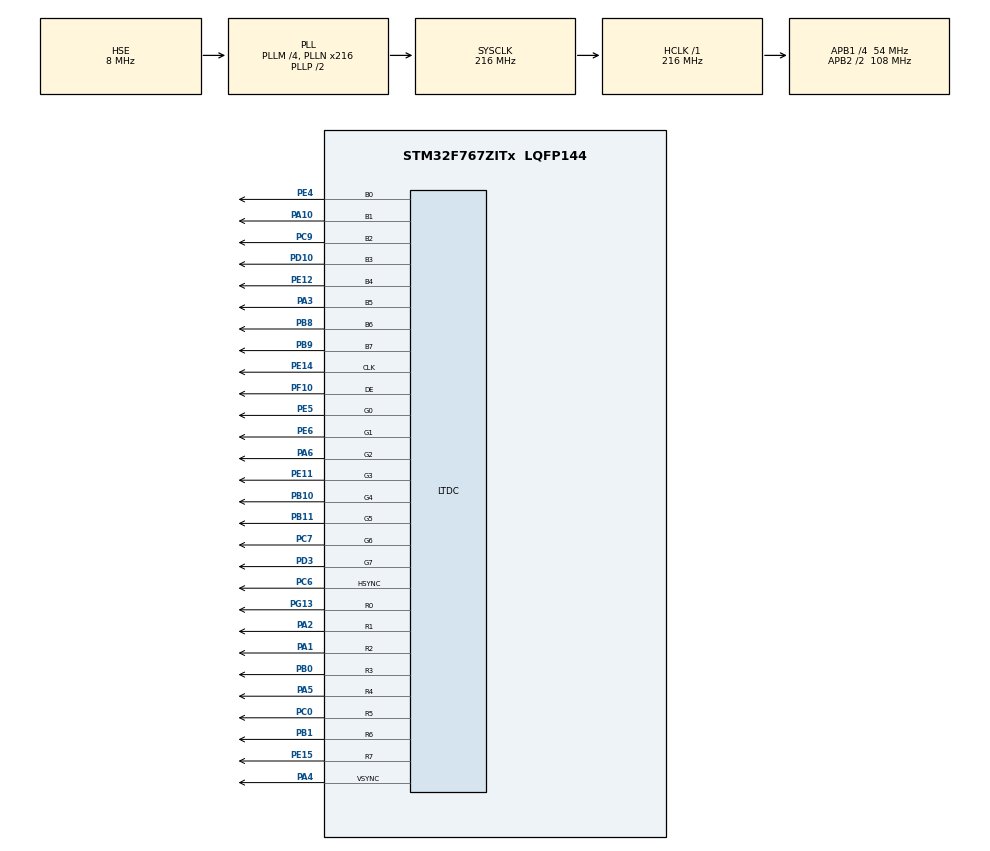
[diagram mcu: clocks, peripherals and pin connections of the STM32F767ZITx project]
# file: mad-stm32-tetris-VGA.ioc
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CORTEX_M7.default_mode_Activation=1
LTDC.HBP=48
LTDC.HFP=16
LTDC.HSync=96
LTDC.VBP=33
LTDC.VFP=10
LTDC.VSync=2
Mcu.Family=STM32F7
Mcu.Name=STM32F767ZITx
Mcu.Package=LQFP144
NVIC.PriorityGroup=NVIC_PRIORITYGROUP_4
PA1.Mode=RGB888
PA1.Signal=LTDC_R2
PA10.Mode=RGB888
PA10.Signal=LTDC_B1
PA2.Mode=RGB888
PA2.Signal=LTDC_R1
PA3.Mode=RGB888
PA3.Signal=LTDC_B5
PA4.Mode=RGB888
PA4.Signal=LTDC_VSYNC
PA5.Mode=RGB888
PA5.Signal=LTDC_R4
PA6.Mode=RGB888
PA6.Signal=LTDC_G2
PB0.Mode=RGB888
PB0.Signal=LTDC_R3
PB1.Mode=RGB888
PB1.Signal=LTDC_R6
PB10.Mode=RGB888
PB10.Signal=LTDC_G4
PB11.Mode=RGB888
PB11.Signal=LTDC_G5
PB8.Mode=RGB888
PB8.Signal=LTDC_B6
PB9.Mode=RGB888
PB9.Signal=LTDC_B7
PC0.Mode=RGB888
PC0.Signal=LTDC_R5
PC6.Mode=RGB888
PC6.Signal=LTDC_HSYNC
PC7.Mode=RGB888
PC7.Signal=LTDC_G6
PC9.Mode=RGB888
PC9.Signal=LTDC_B2
PD10.Mode=RGB888
PD10.Signal=LTDC_B3
PD3.Mode=RGB888
PD3.Signal=LTDC_G7
PE11.Mode=RGB888
PE11.Signal=LTDC_G3
PE12.Mode=RGB888
PE12.Signal=LTDC_B4
PE14.Mode=RGB888
PE14.Signal=LTDC_CLK
PE15.Mode=RGB888
PE15.Signal=LTDC_R7
PE4.Mode=RGB888
PE4.Signal=LTDC_B0
PE5.Mode=RGB888
PE5.Signal=LTDC_G0
PE6.Mode=RGB888
PE6.Signal=LTDC_G1
PF10.Mode=RGB888
PF10.Signal=LTDC_DE
PG13.Mode=RGB888
PG13.Signal=LTDC_R0
PH0/OSC_IN.Mode=HSE-External-Clock-Source
PH0/OSC_IN.Signal=RCC_OSC_IN
PH1/OSC_OUT.Mode=HSE-External-Clock-Source
PH1/OSC_OUT.Signal=RCC_OSC_OUT
ProjectManager.HeapSize=0x200
ProjectManager.StackSize=0x400
ProjectManager.TargetToolchain=STM32CubeIDE
RCC.AHBFreq_Value=216000000
RCC.APB1CLKDivider=RCC_HCLK_DIV4
RCC.APB1Freq_Value=54000000
RCC.APB1TimFreq_Value=108000000
RCC.APB2CLKDivider=RCC_HCLK_DIV2
RCC.APB2Freq_Value=108000000
RCC.APB2TimFreq_Value=216000000
RCC.CortexFreq_Value=216000000
RCC.HCLKFreq_Value=216000000
RCC.HSE_VALUE=8000000
RCC.HSI_VALUE=16000000
RCC.LSE_VALUE=32768
RCC.PLLM=4
RCC.PLLN=216
RCC.PLLSAIN=151
RCC.PLLSAIR=3
RCC.PLLSAIRDiv=RCC_PLLSAIDIVR_4
RCC.PLLSourceVirtual=RCC_PLLSOURCE_HSE
RCC.SYSCLKFreq_VALUE=216000000
RCC.SYSCLKSource=RCC_SYSCLKSOURCE_PLLCLK
RCC.USBFreq_Value=216000000
RCC.VCOOutputFreq_Value=432000000
board=custom

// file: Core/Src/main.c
/* USER CODE BEGIN Header */
/**
  ******************************************************************************
  * @file           : main.c
  * @brief          : Main program body
  ******************************************************************************
  * @attention
  *
  * Copyright (c) 2026 STMicroelectronics.
  * All rights reserved.
  *
  * This software is licensed under terms that can be found in the LICENSE file
  * in the root directory of this software component.
  * If no LICENSE file comes with this software, it is provided AS-IS.
  *
  ******************************************************************************
  */
/* USER CODE END Header */
#include "main.h"
#include "ltdc.h"
#include "gpio.h"

/* USER CODE BEGIN Includes */
#include "proto.h"
#include "hub.h"
#include "vga_draw.h"
#include <stdio.h>
#include <string.h>
/* USER CODE END Includes */

/* USER CODE BEGIN PV */
#define FB_W 640
#define FB_H 480

uint8_t  framebuffer[FB_W * FB_H] __attribute__((aligned(32)));
uint32_t clut[256];

/* Hub + protocol state (ported from mad-python-uart-simulation). */
hub_t          g_hub;
proto_parser_t g_parser;

/* UART RX ring buffer, filled by USART6_IRQHandler. */
#define RX_RING_SIZE 1024
volatile uint8_t  rx_ring[RX_RING_SIZE];
volatile uint16_t rx_head, rx_tail;

int      g_show_debug;      /* toggled by the user button (B1/PC13) */
/* USER CODE END PV */

void SystemClock_Config(void);
static void MPU_Config(void);
void VGA_Pixel(int x, int y, uint8_t c);
void VGA_TestPattern(void);
void VGA_Start(void);
/* USER CODE BEGIN PFP */
static void USART6_Init(uint32_t baud);
static void uart_send(const uint8_t *pkt, int len, void *ctx);
static void on_packet(uint8_t type, const uint8_t *payload, uint8_t len,
                      void *ctx);
static void on_text(uint8_t b, void *ctx);
/* USER CODE END PFP */

int main(void)
{

  /* MPU Configuration--------------------------------------------------------*/
  MPU_Config();

  /* MCU Configuration--------------------------------------------------------*/

  /* Reset of all peripherals, Initializes the Flash interface and the Systick. */
  HAL_Init();

  /* Configure the system clock */
  SystemClock_Config();

  /* Initialize all configured peripherals */
  MX_GPIO_Init();
  MX_LTDC_Init();
  /* USER CODE BEGIN 2 */
  VGA_Start();
  LTDC->BCCR = 0x00000000;        /* พื้นหลังดำ */
  LTDC->SRCR = LTDC_SRCR_IMR;

  /* --- protocol + hub + UART: boot straight into the lobby --- */
  USART6_Init(921600);
  proto_parser_init(&g_parser);
  hub_init(&g_hub, uart_send, NULL);
  hub_seed_rng(&g_hub, HAL_GetTick() ^ 0xA5A5u);
  /* USER CODE END 2 */

  /* Infinite loop */
  /* USER CODE BEGIN WHILE */
  __HAL_RCC_GPIOB_CLK_ENABLE();
  GPIO_InitTypeDef led = {0};
  led.Pin  = GPIO_PIN_7;              /* LD2 สีน้ำเงิน = UART RX indicator */
  led.Mode = GPIO_MODE_OUTPUT_PP;
  HAL_GPIO_Init(GPIOB, &led);

  /* B1 user button (PC13) toggles the debug panel. */
  __HAL_RCC_GPIOC_CLK_ENABLE();
  GPIO_InitTypeDef btn = {0};
  btn.Pin  = GPIO_PIN_13;
  btn.Mode = GPIO_MODE_INPUT;
  btn.Pull = GPIO_NOPULL;
  HAL_GPIO_Init(GPIOC, &btn);

  uint32_t last_render = 0, last_rx = 0;
  int btn_prev = 0, rx_ever = 0;
  const uint32_t RX_LED_HOLD_MS = 150;   /* keep PB7 lit this long after a byte */

  while (1)
  {
    uint32_t now = HAL_GetTick();

    /* 1) drain UART RX -> parser -> hub (real board path) */
    while (rx_tail != rx_head) {
      uint8_t b = rx_ring[rx_tail];
      rx_tail = (uint16_t)((rx_tail + 1) % RX_RING_SIZE);
      proto_parser_feed_byte(&g_parser, b, on_packet, on_text, &now);
      last_rx = now;        /* any byte in -> flag RX activity for PB7 */
      rx_ever = 1;
    }

    /* 2) time-based lobby + debug window */
    hub_debug_tick_window(&g_hub.stats, now);
    hub_update(&g_hub, now);

    /* 3) debug-panel toggle on button press edge */
    int btn_now = HAL_GPIO_ReadPin(GPIOC, GPIO_PIN_13) == GPIO_PIN_SET;
    if (btn_now && !btn_prev) g_show_debug = !g_show_debug;
    btn_prev = btn_now;

    /* 4) render ~30 fps */
    if (now - last_render >= 33) {
      last_render = now;
      g_hub.stats.crc_errors    = g_parser.crc_errors;
      g_hub.stats.length_errors = g_parser.length_errors;
      vga_render(&g_hub, g_show_debug, now);
    }

    /* 5) PB7 = UART RX indicator: lit while bytes are arriving, off when idle */
    int rx_active = rx_ever && (now - last_rx < RX_LED_HOLD_MS);
    HAL_GPIO_WritePin(GPIOB, GPIO_PIN_7,
                      rx_active ? GPIO_PIN_SET : GPIO_PIN_RESET);
  }
  /* USER CODE END 3 */
}

void SystemClock_Config(void)
{
  RCC_OscInitTypeDef RCC_OscInitStruct = {0};
  RCC_ClkInitTypeDef RCC_ClkInitStruct = {0};

  /** Configure the main internal regulator output voltage
  */
  __HAL_RCC_PWR_CLK_ENABLE();
  __HAL_PWR_VOLTAGESCALING_CONFIG(PWR_REGULATOR_VOLTAGE_SCALE1);

  /** Initializes the RCC Oscillators according to the specified parameters
  * in the RCC_OscInitTypeDef structure.
  */
  RCC_OscInitStruct.OscillatorType = RCC_OSCILLATORTYPE_HSE;
  RCC_OscInitStruct.HSEState = RCC_HSE_BYPASS;
  RCC_OscInitStruct.PLL.PLLState = RCC_PLL_ON;
  RCC_OscInitStruct.PLL.PLLSource = RCC_PLLSOURCE_HSE;
  RCC_OscInitStruct.PLL.PLLM = 4;
  RCC_OscInitStruct.PLL.PLLN = 216;
  RCC_OscInitStruct.PLL.PLLP = RCC_PLLP_DIV2;
  RCC_OscInitStruct.PLL.PLLQ = 2;
  RCC_OscInitStruct.PLL.PLLR = 2;
  if (HAL_RCC_OscConfig(&RCC_OscInitStruct) != HAL_OK)
  {
    Error_Handler();
  }

  /** Activate the Over-Drive mode
  */
  if (HAL_PWREx_EnableOverDrive() != HAL_OK)
  {
    Error_Handler();
  }

  /** Initializes the CPU, AHB and APB buses clocks
  */
  RCC_ClkInitStruct.ClockType = RCC_CLOCKTYPE_HCLK|RCC_CLOCKTYPE_SYSCLK
                              |RCC_CLOCKTYPE_PCLK1|RCC_CLOCKTYPE_PCLK2;
  RCC_ClkInitStruct.SYSCLKSource = RCC_SYSCLKSOURCE_PLLCLK;
  RCC_ClkInitStruct.AHBCLKDivider = RCC_SYSCLK_DIV1;
  RCC_ClkInitStruct.APB1CLKDivider = RCC_HCLK_DIV4;
  RCC_ClkInitStruct.APB2CLKDivider = RCC_HCLK_DIV2;

  if (HAL_RCC_ClockConfig(&RCC_ClkInitStruct, FLASH_LATENCY_7) != HAL_OK)
  {
    Error_Handler();
  }
}

/* USER CODE BEGIN 4 */
void VGA_Start(void)
{
  /* CubeMX ตั้ง timing กับ GPIO ให้แล้ว เหลือชี้เฟรมบัฟเฟอร์ */
  LTDC_LayerCfgTypeDef L = {0};
  L.WindowX0 = 0;   L.WindowX1 = FB_W;
  L.WindowY0 = 0;   L.WindowY1 = FB_H;
  L.PixelFormat = LTDC_PIXEL_FORMAT_L8;
  L.Alpha  = 255;   L.Alpha0 = 0;
  L.BlendingFactor1 = LTDC_BLENDING_FACTOR1_CA;
  L.BlendingFactor2 = LTDC_BLENDING_FACTOR2_CA;
  L.FBStartAdress = (uint32_t)framebuffer;
  L.ImageWidth  = FB_W;
  L.ImageHeight = FB_H;
  HAL_LTDC_ConfigLayer(&hltdc, &L, 0);

  /* 8 สี เพราะต่อแค่บิตบนสุดของแต่ละช่อง */
  for (int i = 0; i < 256; i++) {
    clut[i] = ((i & 4) ? 0xFF0000 : 0)
            | ((i & 2) ? 0x00FF00 : 0)
            | ((i & 1) ? 0x0000FF : 0);
  }
  HAL_LTDC_ConfigCLUT(&hltdc, clut, 256, 0);
  HAL_LTDC_EnableCLUT(&hltdc, 0);
}

void VGA_TestPattern(void)
{
  for (int y = 0; y < FB_H; y++)
    for (int x = 0; x < FB_W; x++)
      framebuffer[y * FB_W + x] = x / 80;   /* 640/8 = 80 แถบ */
}

void VGA_Pixel(int x, int y, uint8_t c)
{
  if ((unsigned)x < FB_W && (unsigned)y < FB_H)
    framebuffer[y * FB_W + x] = c;
}

/* --- USART6 (PG14 TX / PG9 RX, AF8) at register level --------------------- */
/* HAL UART driver sources are not in this project, so configure directly.
 * PG14/PG9 break out on the morpho header (free, not the ST-LINK VCP). */
static void USART6_Init(uint32_t baud)
{
  RCC->AHB1ENR |= RCC_AHB1ENR_GPIOGEN;
  RCC->APB2ENR |= RCC_APB2ENR_USART6EN;   /* USART6 lives on APB2 */
  (void)RCC->APB2ENR;   /* ensure the clock is up before touching the regs */

  /* PG14 = TX, PG9 = RX -> alternate function 8 */
  GPIOG->MODER   &= ~((3u << (14 * 2)) | (3u << (9 * 2)));
  GPIOG->MODER   |=  ((2u << (14 * 2)) | (2u << (9 * 2)));
  GPIOG->OSPEEDR |=  ((3u << (14 * 2)) | (3u << (9 * 2)));
  GPIOG->AFR[1]  &= ~((0xFu << ((14 - 8) * 4)) | (0xFu << ((9 - 8) * 4)));
  GPIOG->AFR[1]  |=  ((8u   << ((14 - 8) * 4)) | (8u   << ((9 - 8) * 4)));

  USART6->CR1 = 0;
  USART6->BRR = (HAL_RCC_GetPCLK2Freq() + baud / 2) / baud;   /* APB2 clock! */
  USART6->CR1 = USART_CR1_TE | USART_CR1_RE | USART_CR1_RXNEIE;
  USART6->CR1 |= USART_CR1_UE;

  HAL_NVIC_SetPriority(USART6_IRQn, 6, 0);
  HAL_NVIC_EnableIRQ(USART6_IRQn);
}

/* Hub send callback: blocking transmit of a framed packet. */
static void uart_send(const uint8_t *pkt, int len, void *ctx)
{
  (void)ctx;
  for (int i = 0; i < len; i++) {
    while (!(USART6->ISR & USART_ISR_TXE)) { }
    USART6->TDR = pkt[i];
  }
  while (!(USART6->ISR & USART_ISR_TC)) { }
}

/* Parser callbacks (real board path). */
static void on_packet(uint8_t type, const uint8_t *payload, uint8_t len,
                      void *ctx)
{
  uint32_t now = *(uint32_t *)ctx;
  hub_handle(&g_hub, type, payload, len, now);
}

static void on_text(uint8_t b, void *ctx)
{
  (void)b; (void)ctx;   /* board printf noise: ignored on the display */
}

/* USART6 RX interrupt: push bytes into the ring, clear overrun. */
void USART6_IRQHandler(void)
{
  uint32_t isr = USART6->ISR;
  if (isr & USART_ISR_ORE) USART6->ICR = USART_ICR_ORECF;
  if (isr & USART_ISR_RXNE) {
    uint8_t b = (uint8_t)USART6->RDR;
    uint16_t next = (uint16_t)((rx_head + 1) % RX_RING_SIZE);
    if (next != rx_tail) {
      rx_ring[rx_head] = b;
      rx_head = next;
    }
  }
}
/* USER CODE END 4 */

 /* MPU Configuration */

void MPU_Config(void)
{
  MPU_Region_InitTypeDef MPU_InitStruct = {0};

  /* Disables the MPU */
  HAL_MPU_Disable();

  /** Initializes and configures the Region and the memory to be protected
  */
  MPU_InitStruct.Enable = MPU_REGION_ENABLE;
  MPU_InitStruct.Number = MPU_REGION_NUMBER0;
  MPU_InitStruct.BaseAddress = 0x0;
  MPU_InitStruct.Size = MPU_REGION_SIZE_4GB;
  MPU_InitStruct.SubRegionDisable = 0x87;
  MPU_InitStruct.TypeExtField = MPU_TEX_LEVEL0;
  MPU_InitStruct.AccessPermission = MPU_REGION_NO_ACCESS;
  MPU_InitStruct.DisableExec = MPU_INSTRUCTION_ACCESS_DISABLE;
  MPU_InitStruct.IsShareable = MPU_ACCESS_SHAREABLE;
  MPU_InitStruct.IsCacheable = MPU_ACCESS_NOT_CACHEABLE;
  MPU_InitStruct.IsBufferable = MPU_ACCESS_NOT_BUFFERABLE;

  HAL_MPU_ConfigRegion(&MPU_InitStruct);
  /* Enables the MPU */
  HAL_MPU_Enable(MPU_PRIVILEGED_DEFAULT);

}

void Error_Handler(void)
{
  __disable_irq();
  while (1)
  {
  }
}
